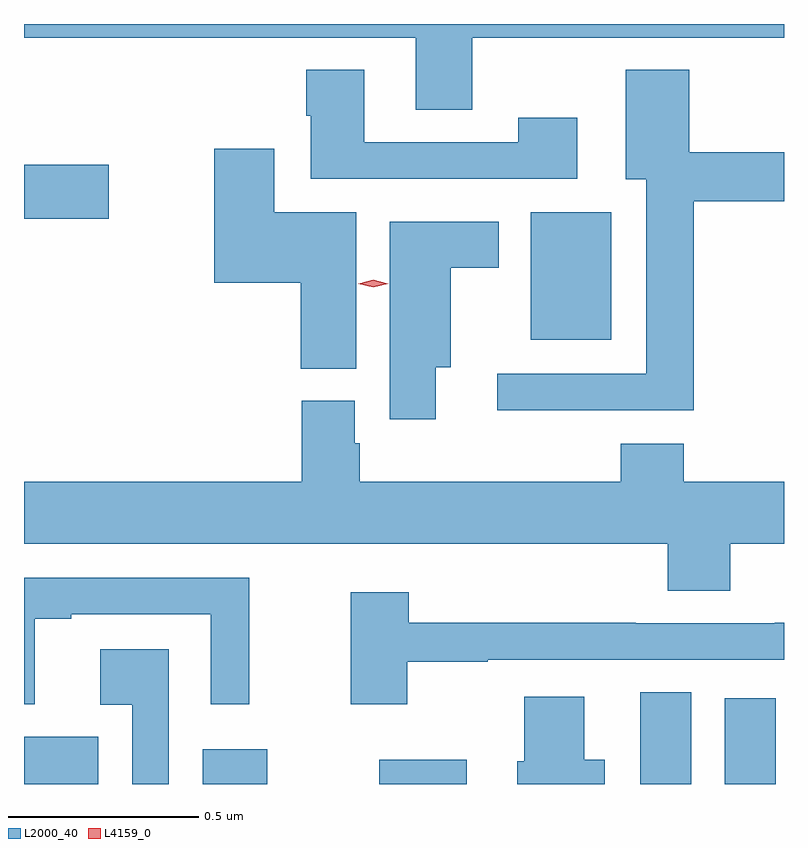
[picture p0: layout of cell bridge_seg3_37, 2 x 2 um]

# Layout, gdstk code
import gdstk
lib = gdstk.Library(unit=1e-6, precision=1e-09)
def R(c, l, rs):  # rectangles x0, y0, x1, y1
    for r in rs: c.add(gdstk.rectangle(r[:2], r[2:], *l))
def P(c, l, *ps):  # polygons
    for p in ps: c.add(gdstk.Polygon(p, *l))
L2000_40 = (2000, 40)
L4159_0 = (4159, 0)

bridge_seg3_37 = lib.new_cell('bridge_seg3_37')
R(bridge_seg3_37, L2000_40, [(677.442,702.948,677.638,703.072), (677.912,702.948,678.082,703.039), (678.377,702.948,678.607,703.012), (679.064,702.948,679.198,703.19), (679.286,702.948,679.42,703.174), (678.776,704.117,678.988,704.452), (677.442,704.435,677.665,704.577)])
P(bridge_seg3_37, L2000_40, [(678.621,704.912),(679.442,704.912),(679.442,704.948),(677.442,704.948),(677.442,704.912),(678.473,704.912),(678.473,704.722),(678.621,704.722)],
  [(679.205,704.482),(679.442,704.482),(679.442,704.611),(679.192,704.611),(679.192,704.827),(679.025,704.827),(679.025,704.54),(679.079,704.54),(679.079,704.028),(678.687,704.028),(678.687,703.931),(679.205,703.931)],
  [(678.898,704.701),(678.742,704.701),(678.742,704.637),(678.337,704.637),(678.337,704.827),(678.185,704.827),(678.185,704.707),(678.197,704.707),(678.197,704.541),(678.898,704.541)],
  [(678.316,704.452),(678.1,704.452),(678.1,704.62),(677.942,704.62),(677.942,704.267),(678.17,704.267),(678.17,704.041),(678.316,704.041)],
  [(678.526,704.045),(678.565,704.045),(678.565,704.306),(678.691,704.306),(678.691,704.428),(678.404,704.428),(678.404,703.908),(678.526,703.908)],
  [(679.301,703.58),(679.442,703.58),(679.442,703.744),(679.178,703.744),(679.178,703.843),(679.013,703.843),(679.013,703.744),(678.326,703.744),(678.326,703.845),(678.313,703.845),(678.313,703.956),(678.173,703.956),(678.173,703.744),(677.442,703.744),(677.442,703.58),(679.136,703.58),(679.136,703.456),(679.301,703.456)],
  [(677.47,703.383),(677.566,703.383),(677.566,703.395),(677.934,703.395),(677.934,703.158),(678.035,703.158),(678.035,703.491),(677.442,703.491),(677.442,703.158),(677.47,703.158)],
  [(678.45,703.27),(678.662,703.27),(678.662,703.275),(679.442,703.275),(679.442,703.373),(679.418,703.373),(679.418,703.371),(679.052,703.371),(679.052,703.373),(678.455,703.373),(678.455,703.453),(678.302,703.453),(678.302,703.158),(678.45,703.158)],
  [(677.823,703.303),(677.643,703.303),(677.643,703.157),(677.727,703.157),(677.727,702.948),(677.823,702.948)],
  [(678.97,703.012),(678.916,703.012),(678.916,703.177),(678.758,703.177),(678.758,703.008),(678.74,703.008),(678.74,702.948),(678.97,702.948)])
P(bridge_seg3_37, L4159_0, [(678.361,704.255),(678.322,704.264),(678.321,704.264),(678.322,704.265),(678.361,704.275),(678.4,704.265),(678.4,704.265),(678.4,704.265)])

lib.write_gds('bridge_seg3_37.gds')
